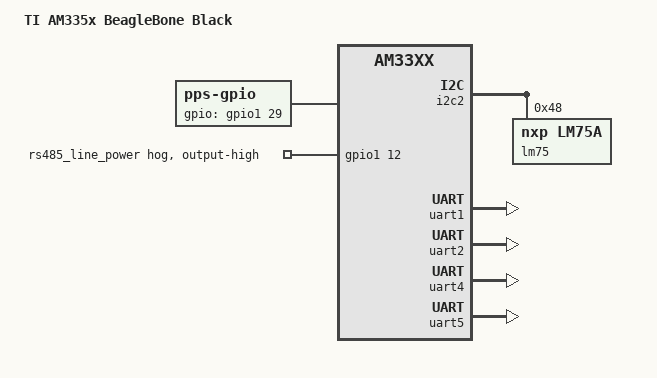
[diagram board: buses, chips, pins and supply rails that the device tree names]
/*
 * Copyright (C) 2012 Texas Instruments Incorporated - http://www.ti.com/
 *
 * This program is free software; you can redistribute it and/or modify
 * it under the terms of the GNU General Public License version 2 as
 * published by the Free Software Foundation.
 */
/dts-v1/;

#include "am33xx.dtsi"
#include "am335x-bone-common.dtsi"
#include "am335x-boneblack-common.dtsi"

/ {
	model = "TI AM335x BeagleBone Black";
	compatible = "ti,am335x-bone-black", "ti,am335x-bone", "ti,am33xx";
};

&cpu0_opp_table {
	/*
	 * All PG 2.0 silicon may not support 1GHz but some of the early
	 * BeagleBone Blacks have PG 2.0 silicon which is guaranteed
	 * to support 1GHz OPP so enable it for PG 2.0 on this board.
	 */
	oppnitro@1000000000 {
		opp-supported-hw = <0x06 0x0100>;
	};
};

&am33xx_pinmux {
	uart1_pins: uart1_pins {
		pinctrl-single,pins = <
			AM33XX_IOPAD(0x980, PIN_INPUT | MUX_MODE0)	/* uart1_rxd.uart1_rxd */
			AM33XX_IOPAD(0x984, PIN_OUTPUT | MUX_MODE0)	/* uart1_txd.uart1_txd */
		>;
	};
	uart2_pins: uart2_pins {
		pinctrl-single,pins = <
			AM33XX_IOPAD(0x950, PIN_INPUT | MUX_MODE1)	/* spi0_sclk.uart2_rxd */
			AM33XX_IOPAD(0x954, PIN_OUTPUT | MUX_MODE1)	/* spi0_d0.uart2_txd */
		>;
	};
	uart4_pins: uart4_pins {
		pinctrl-single,pins = <
			AM33XX_IOPAD(0x870, PIN_INPUT | MUX_MODE6)	/* gpmc_wait0.uart4_rxd */
			AM33XX_IOPAD(0x874, PIN_OUTPUT | MUX_MODE6)	/* gpmc_wpn.uart4_txd */
		>;
	};
	uart5_pins: uart5_pins {
		pinctrl-single,pins = <
			AM33XX_IOPAD(0x8c0, PIN_OUTPUT | MUX_MODE4)	/* lcd_data8.uart5_txd */
			AM33XX_IOPAD(0x8c4, PIN_INPUT | MUX_MODE4)	/* lcd_data9.uart5_rxd */
		>;
	};
	pps_pins: pps_pins {
		pinctrl-single,pins = <
			AM33XX_IOPAD(0x87c, PIN_INPUT | MUX_MODE7) /* gpmc_csn0.gpio_129 */
		>;
	};
};

/ {
	pps {
                compatible = "pps-gpio";
                pinctrl-names = "default";
                pinctrl-0 = <&pps_pins>;
                gpios = <&gpio1 29 GPIO_ACTIVE_HIGH>;
                status = "okay";
        };
};

&i2c2 {
	lm75@48 {
		compatible = "nxp,lm75a", "national,lm75b";
		reg = <0x48>;
	};
};

&gpio1 {
	rs485_line_power {
		gpio-hog;
		gpios = <12 GPIO_ACTIVE_HIGH>;
		output-high;
		line-name = "rs485_line_power";
	};
};

&uart1 {
	pinctrl-names = "default";
	pinctrl-0 = <&uart1_pins>;
	status = "okay";
};

&uart2 {
	pinctrl-names = "default";
	pinctrl-0 = <&uart2_pins>;
	status = "okay";
};

&uart4 {
	pinctrl-names = "default";
	pinctrl-0 = <&uart4_pins>;
	status = "okay";
};

&uart5 {
	pinctrl-names = "default";
	pinctrl-0 = <&uart5_pins>;
	status = "okay";
};
